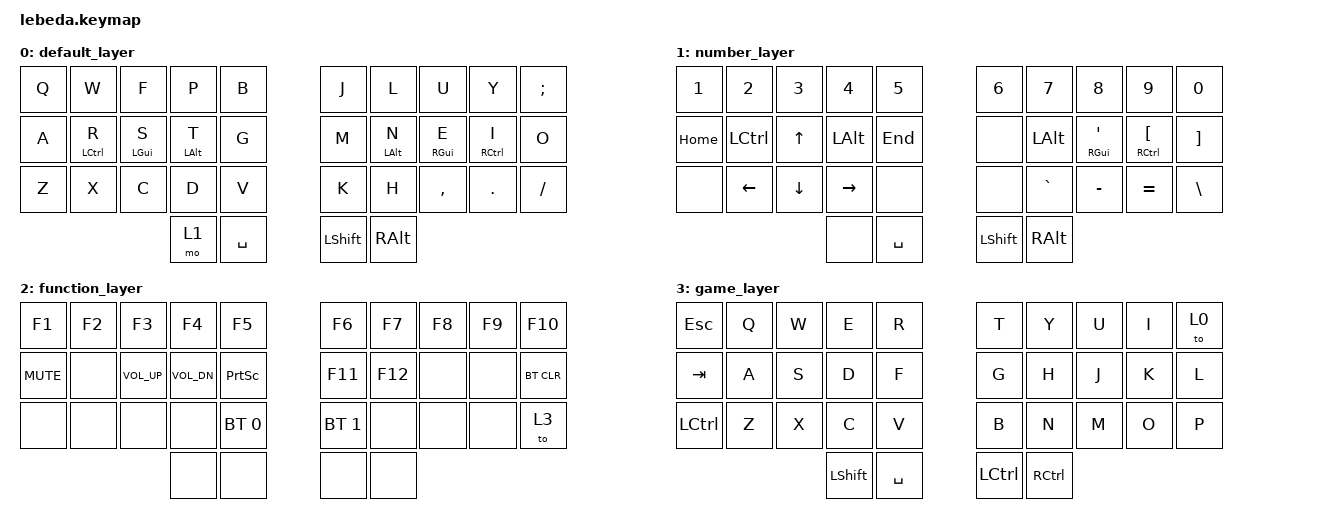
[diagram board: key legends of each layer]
/*
 * Copyright (c) 2020 The ZMK Contributors
 *
 * SPDX-License-Identifier: MIT
 */

#include <behaviors.dtsi>
#include <dt-bindings/zmk/keys.h>
#include <dt-bindings/zmk/bt.h>

/ { 
    behaviors {
        hm: homerow_mods {
            compatible = "zmk,behavior-hold-tap";
            label = "HOMEROW_MODS";
            #binding-cells = <2>;
            tapping-term-ms = <150>;
            quick-tap-ms = <0>;
            flavor = "tap-preferred";
            bindings = <&kp>, <&kp>;
        };
    };
    combos {
        compatible = "zmk,combos";
        combo_esc {
            timeout-ms = <50>;
            key-positions = <1 2>;
            bindings = <&kp ESC>;
            layers = <0>;
        };
        
       combo_tab {
            timeout-ms = <50>;
            key-positions = <21 22>;
            bindings = <&kp TAB>;
            layers = <0>;
        };
        
       combo_del {
            timeout-ms = <50>;
            key-positions = <7 8>;
            bindings = <&kp BACKSPACE>;
            layers = <0>;
        };

       combo_ent {
            timeout-ms = <50>;
            key-positions = <27 28>;
            bindings = <&kp ENTER>;
            layers = <0>;
        };

       combo_function {
            timeout-ms = <50>;
            key-positions = <30 31>;
            bindings = <&mo 2>;
            layers = <0>;
        };

       combo_accent_1 {
            timeout-ms = <50>;
            key-positions = <10 11>;
            bindings = <&macro_accent_1>;
            layers = <0>;
        };

       combo_accent_2 {
            timeout-ms = <50>;
            key-positions = <10 12>;
            bindings = <&macro_accent_2>;
            layers = <0>;
        };

    };
    
    macros {
        macro_accent_1: macro_accent_1 {
            compatible = "zmk,behavior-macro";
            label = "accent_1";
            #binding-cells = <0>;
            bindings =
                <&macro_press &kp RALT >,
                <&macro_tap &kp SQT>,
                <&macro_release &kp RALT >;
        };
        macro_accent_2: macro_accent_2 {
            compatible = "zmk,behavior-macro";
            label = "accent_2";
            #binding-cells = <0>;
            bindings =
                <&macro_press &kp RALT &kp RSHFT>,
                <&macro_tap &kp DOT>,
                <&macro_release &kp RALT &kp RSHFT>;
        };
    };

    keymap {
        compatible = "zmk,keymap";
                
        default_layer {
            bindings = <
            &kp Q &kp W       &kp F      &kp P      &kp B       &kp J &kp L       &kp U       &kp Y        &kp SEMI 
            &kp A &hm LCTRL R &hm LGUI S &hm LALT T &kp G       &kp M &hm LALT N  &hm RGUI E  &hm RCTRL I  &kp O
            &kp Z &kp X       &kp C      &kp D      &kp V       &kp K &kp H       &kp COMMA   &kp DOT      &kp SLASH
                                         &mo 1  &kp SPACE       &kp LSHIFT &kp RALT
            >;
            }; 

        number_layer {
            bindings = <
            &kp N1     &kp N2    &kp N3   &kp N4    &kp N5      &kp N6  &kp N7    &kp N8         &kp N9           &kp N0    
            &kp HOME   &kp LCTRL &kp UP   &kp LALT  &kp END     &none   &kp LALT  &hm RGUI SQT   &hm RCTRL LBKT   &kp RBKT  
            &none      &kp LEFT  &kp DOWN &kp RIGHT &none       &none   &kp GRAVE &kp MINUS      &kp EQUAL        &kp BACKSLASH 
                                          &none     &kp SPACE   &kp LSHIFT &kp RALT 
            >;
            };
        
        function_layer {
            bindings = <
            &kp F1       &kp F2 &kp F3        &kp F4        &kp F5          &kp F6        &kp F7  &kp F8 &kp F9 &kp F10 
            &kp K_MUTE   &none  &kp K_VOL_UP  &kp K_VOL_DN  &kp PSCRN       &kp F11       &kp F12 &none  &none  &bt BT_CLR 
            &none        &none  &none         &none         &bt BT_SEL 0    &bt BT_SEL 1  &none   &none  &none  &to 3
                                              &none         &none           &none         &none
            >;
            };  

        game_layer {
            bindings = <
            &kp ESC   &kp Q &kp W &kp E &kp R           &kp T &kp Y  &kp U  &kp I &to 0
            &kp TAB   &kp A &kp S &kp D &kp F           &kp G &kp H  &kp J  &kp K &kp L 
            &kp LCTRL &kp Z &kp X &kp C &kp V           &kp B &kp N  &kp M  &kp O &kp P   
                         &kp LSHIFT &kp SPACE           &kp LCTRL &kp RCTRL 
            >;
            };  
    };
};
